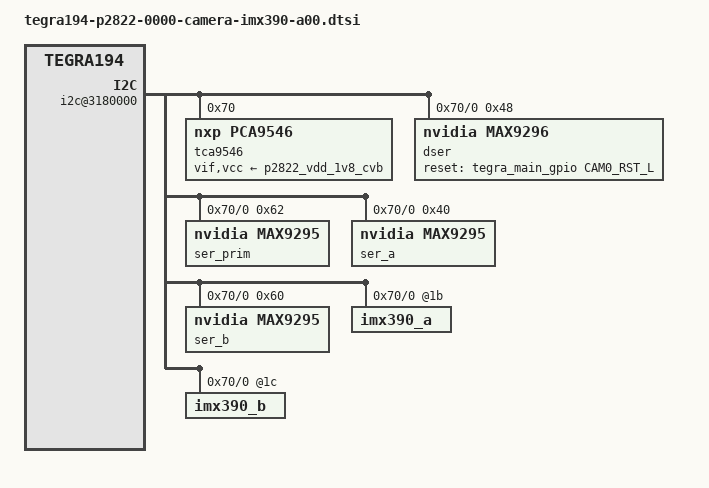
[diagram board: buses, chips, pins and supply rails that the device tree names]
/*
 * Copyright (c) 2018-2019, NVIDIA CORPORATION.  All rights reserved.
 *
 * This program is free software; you can redistribute it and/or modify
 * it under the terms of the GNU General Public License as published by
 * the Free Software Foundation; either version 2 of the License, or
 * (at your option) any later version.
 *
 * This program is distributed in the hope that it will be useful, but WITHOUT
 * ANY WARRANTY; without even the implied warranty of MERCHANTABILITY or
 * FITNESS FOR A PARTICULAR PURPOSE.  See the GNU General Public License for
 * more details.
 *
 * You should have received a copy of the GNU General Public License
 * along with this program.  If not, see <http://www.gnu.org/licenses/>.
 */
#include <t19x-common-modules/tegra194-camera-imx390-a00.dtsi>
#include "dt-bindings/clock/tegra194-clock.h"

#define CAM0_RST_L	TEGRA194_MAIN_GPIO(H, 3)
#define CAMERA_I2C_MUX_BUS(x) (0x1E + x)

/* camera control gpio definitions */

/ {
	i2c@3180000 {
		tca9546@70 {
			compatible = "nxp,pca9546";
			reg = <0x70>;
			#address-cells = <1>;
			#size-cells = <0>;
			skip_mux_detect = "yes";
			vif-supply = <&p2822_vdd_1v8_cvb>;
			vcc-supply = <&p2822_vdd_1v8_cvb>;
			vcc_lp = "vcc";
			force_bus_start = <CAMERA_I2C_MUX_BUS(0)>;

			i2c@0 {
				reg = <0>;
				i2c-mux,deselect-on-exit;
				#address-cells = <1>;
				#size-cells = <0>;
				dser: max9296@48 {
					compatible = "nvidia,max9296";
					reg = <0x48>;
					csi-mode = "2x4";
					max-src = <2>;
					reset-gpios = <&tegra_main_gpio CAM0_RST_L GPIO_ACTIVE_HIGH>;
				};
				ser_prim: max9295_prim@62 {
					compatible = "nvidia,max9295";
					reg = <0x62>;
					is-prim-ser;
				};
				ser_a: max9295_a@40 {
					compatible = "nvidia,max9295";
					reg = <0x40>;
					nvidia,gmsl-dser-device = <&dser>;
				};
				ser_b: max9295_b@60 {
					compatible = "nvidia,max9295";
					reg = <0x60>;
					nvidia,gmsl-dser-device = <&dser>;
				};
				imx390_a@1b {
					def-addr = <0x1a>;
					/* Define any required hw resources needed by driver */
					/* ie. clocks, io pins, power sources */
					clocks = <&bpmp_clks TEGRA194_CLK_EXTPERIPH1>,
							<&bpmp_clks TEGRA194_CLK_EXTPERIPH1>;
					clock-names = "extperiph1", "pllp_grtba";
					mclk = "extperiph1";
					nvidia,gmsl-ser-device = <&ser_a>;
					nvidia,gmsl-dser-device = <&dser>;
				};
				imx390_b@1c {
					def-addr = <0x1a>;
					/* Define any required hw resources needed by driver */
					/* ie. clocks, io pins, power sources */
					clocks = <&bpmp_clks TEGRA194_CLK_EXTPERIPH1>,
							<&bpmp_clks TEGRA194_CLK_EXTPERIPH1>;
					clock-names = "extperiph1", "pllp_grtba";
					mclk = "extperiph1";
					nvidia,gmsl-ser-device = <&ser_b>;
					nvidia,gmsl-dser-device = <&dser>;
				};
			};
		};
	};
};
